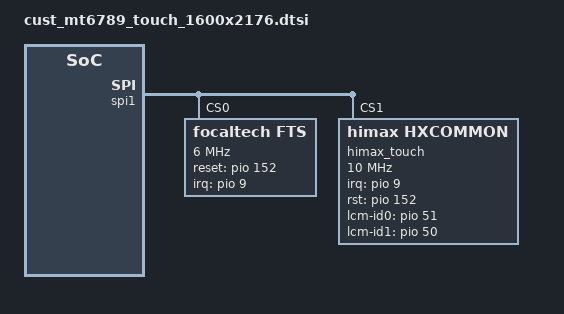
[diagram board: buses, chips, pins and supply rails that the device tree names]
// SPDX-License-Identifier: (GPL-2.0 OR MIT)
/*
 * Copyright (C) 2020 MediaTek Inc.
 */
/* TOUCH start */
&spi1 {
    mediatek,pad-select = <0>,<1>;
    status = "okay";
    #address-cells = <1>;
    #size-cells = <0>;
    pinctrl-names = "default", "ts_int_active",
        "ts_reset_active", "ts_int_suspend",
        "ts_reset_suspend", "spi_mode",
        "spi1_to_gpio";
    pinctrl-0 = <&ctp_pins_default>;
    pinctrl-1 = <&ctp_int_active>;
    pinctrl-2 = <&ctp_reset_active>;
    pinctrl-3 = <&ctp_int_suspend>;
    pinctrl-4 = <&ctp_reset_suspend>;
    pinctrl-5 = <&ctp_spi_mode>;
    pinctrl-6 = <&ctp_spi1_to_gpio>;

    focaltech@0 {
        compatible = "focaltech,fts";
        reg = <0x0>;
        spi-max-frequency = <6000000>;
        interrupt-parent = <&pio>;
        interrupts = <9 IRQ_TYPE_EDGE_FALLING 9 0>;
        focaltech,reset-gpio = <&pio 152 0>;
        focaltech,irq-gpio = <&pio 9 02>;
        focaltech,max-touch-number = <10>;
        focaltech,display-coords =  <0 0 1600 2176>;
        status = "okay";
    };

    himax_touch@1 {
        compatible = "himax,hxcommon";
        reg = <1>; //Same as CS ID
        spi-max-frequency = <10000000>;
        // spi-cpha;
        interrupt-parent = <&pio>;
        himax,irq-gpio = <&pio 9 0x2800>;
        himax,rst-gpio = <&pio 152 0x0000>;
        himax,lcm-id0 = <&pio 51 0x00>;
        himax,lcm-id1 = <&pio 50 0x00>;
        himax,panel-coords = <0 1600 0 2176>;
        himax,display-coords = <0 1600 0 2176>;
        report_type = <1>;
    };
};
&pio {
    ctp_pins_default: pins_default {
    };
    ctp_ts_int_active: int_active {
        pins_cmd_dat {
            pinmux = <PINMUX_GPIO9__FUNC_GPIO9>;
            input-enable;
        };
    };
    ctp_ts_reset_active: reset_active {
        pins_cmd_dat {
            pinmux = <PINMUX_GPIO152__FUNC_GPIO152>;
            output-high;
        };
    };
    ctp_ts_int_suspend: int_suspend {
        pins_cmd_dat {
            pinmux = <PINMUX_GPIO9__FUNC_GPIO9>;
            output-low;
        };
    };
    ctp_ts_reset_suspend: reset_suspend {
        pins_cmd_dat {
            pinmux = <PINMUX_GPIO152__FUNC_GPIO152>;
            output-low;
        };
    };
    ctp_int_active: int1_active {
        pins_cmd_dat {
            pinmux = <PINMUX_GPIO9__FUNC_GPIO9>;
            input-enable;
        };
    };
    ctp_reset_active: reset1_active {
        pins_cmd_dat {
            pinmux = <PINMUX_GPIO152__FUNC_GPIO152>;
            output-high;
        };
    };
    ctp_int_suspend: int1_suspend {
        pins_cmd_dat {
            pinmux = <PINMUX_GPIO9__FUNC_GPIO9>;
            output-low;
        };
    };
    ctp_reset_suspend: reset1_suspend {
        pins_cmd_dat {
            pinmux = <PINMUX_GPIO152__FUNC_GPIO152>;
            output-low;
        };
    };
    ctp_spi_mode: spimode_default {
        pins_cmd_dat {
            pinmux = <PINMUX_GPIO34__FUNC_SPI1_CLK>,
                <PINMUX_GPIO35__FUNC_SPI1_CSB>,
                <PINMUX_GPIO36__FUNC_SPI1_MO>,
                <PINMUX_GPIO37__FUNC_SPI1_MI>;
            drive-strength = <2>;
        };
    };
    ctp_spi1_to_gpio: spimode_to_gpio {
        pins_cmd_dat {
            pinmux = <PINMUX_GPIO34__FUNC_GPIO34>,
                <PINMUX_GPIO35__FUNC_GPIO35>,
                <PINMUX_GPIO36__FUNC_GPIO36>,
                <PINMUX_GPIO37__FUNC_GPIO37>;
            output-low;
        };
    };
};
/* TOUCH end */
